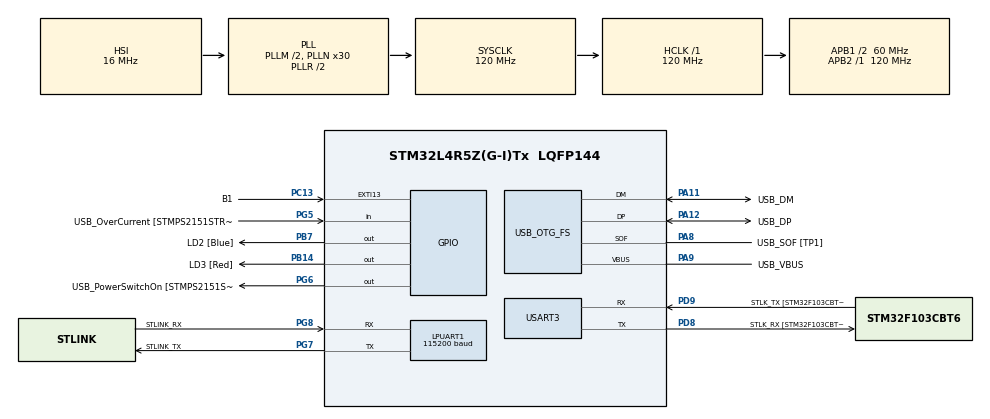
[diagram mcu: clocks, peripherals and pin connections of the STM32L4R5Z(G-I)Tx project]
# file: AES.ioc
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LPUART1.BaudRate=115200
LPUART1.WordLength=UART_WORDLENGTH_8B
Mcu.Family=STM32L4
Mcu.Name=STM32L4R5Z(G-I)Tx
Mcu.Package=LQFP144
NVIC.PriorityGroup=NVIC_PRIORITYGROUP_4
PA10.GPIO_Label=USB_ID
PA10.Signal=USB_OTG_FS_ID
PA11.GPIO_Label=USB_DM
PA11.Mode=Device_Only
PA11.Signal=USB_OTG_FS_DM
PA12.GPIO_Label=USB_DP
PA12.Mode=Device_Only
PA12.Signal=USB_OTG_FS_DP
PA13\ (JTMS/SWDIO).GPIO_Label=TMS
PA13\ (JTMS/SWDIO).Mode=Trace_Asynchronous_SW
PA13\ (JTMS/SWDIO).Signal=SYS_JTMS-SWDIO
PA14\ (JTCK/SWCLK).GPIO_Label=TCK
PA14\ (JTCK/SWCLK).Mode=Trace_Asynchronous_SW
PA14\ (JTCK/SWCLK).Signal=SYS_JTCK-SWCLK
PA8.GPIO_Label=USB_SOF [TP1]
PA8.Mode=Activate_SOF_FS
PA8.Signal=USB_OTG_FS_SOF
PA9.GPIO_Label=USB_VBUS
PA9.Mode=Activate_VBUS
PA9.Signal=USB_OTG_FS_VBUS
PB14.GPIO_Label=LD3 [Red]
PB14.Signal=GPIO_Output
PB3\ (JTDO/TRACESWO).GPIO_Label=SWO
PB3\ (JTDO/TRACESWO).Mode=Trace_Asynchronous_SW
PB3\ (JTDO/TRACESWO).Signal=SYS_JTDO-SWO
PB7.GPIO_Label=LD2 [Blue]
PB7.Signal=GPIO_Output
PC13.GPIO_Label=B1
PC13.Signal=GPXTI13
PC14-OSC32_IN\ (PC14).Mode=LSE-External-Oscillator
PC14-OSC32_IN\ (PC14).Signal=RCC_OSC32_IN
PC15-OSC32_OUT\ (PC15).Mode=LSE-External-Oscillator
PC15-OSC32_OUT\ (PC15).Signal=RCC_OSC32_OUT
PD8.GPIO_Label=STLK_RX [STM32F103CBT6_PA3]
PD8.Mode=Asynchronous
PD8.Signal=USART3_TX
PD9.GPIO_Label=STLK_TX [STM32F103CBT6_PA2]
PD9.Mode=Asynchronous
PD9.Signal=USART3_RX
PG5.GPIO_Label=USB_OverCurrent [STMPS2151STR_FAULT]
PG5.Signal=GPIO_Input
PG6.GPIO_Label=USB_PowerSwitchOn [STMPS2151STR_EN]
PG6.Signal=GPIO_Output
PG7.GPIO_Label=STLINK_TX
PG7.Mode=Asynchronous
PG7.Signal=LPUART1_TX
PG8.GPIO_Label=STLINK_RX
PG8.Mode=Asynchronous
PG8.Signal=LPUART1_RX
PH0-OSC_IN\ (PH0).Signal=RCC_OSC_IN
PH1-OSC_OUT\ (PH1).Signal=RCC_OSC_OUT
ProjectManager.HeapSize=0x200
ProjectManager.StackSize=0x400
ProjectManager.TargetToolchain=STM32CubeIDE
RCC.48MHZClocksFreq_Value=24000000
RCC.ADCFreq_Value=96000000
RCC.AHBFreq_Value=120000000
RCC.APB1CLKDivider=RCC_HCLK_DIV2
RCC.APB1Freq_Value=60000000
RCC.APB1TimFreq_Value=120000000
RCC.APB2Freq_Value=120000000
RCC.APB2TimFreq_Value=120000000
RCC.CK48CLockSelection=RCC_USBCLKSOURCE_HSI48
RCC.CortexFreq_Value=120000000
RCC.HCLKFreq_Value=120000000
RCC.HSE_VALUE=8000000
RCC.HSI48_VALUE=48000000
RCC.HSI_VALUE=16000000
RCC.MSI_VALUE=4000000
RCC.PLLM1=2
RCC.PLLMUL=RCC_PLL_MUL9
RCC.PLLN=30
RCC.PLLSAI1N=12
RCC.PLLSourceVirtual=RCC_PLLSOURCE_HSI
RCC.PRESCALERUSB=RCC_USBCLKSOURCE_PLL_DIV1_5
RCC.SYSCLKFreq_VALUE=120000000
RCC.SYSCLKSource=RCC_SYSCLKSOURCE_PLLCLK
RCC.SYSCLKSourceVirtual=RCC_SYSCLKSOURCE_PLLCLK
RCC.USBFreq_Value=48000000
RCC.VCOOutputFreq_Value=240000000
USART3.VirtualMode-Asynchronous=VM_ASYNC
USB_OTG_FS.VirtualMode=Device_Only
board=NUCLEO-L4R5ZI

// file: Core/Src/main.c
/* USER CODE BEGIN Header */
/**
  ******************************************************************************
  * @file           : main.c
  * @brief          : Main program body
  ******************************************************************************
  * @attention
  *
  * Copyright (c) 2023 STMicroelectronics.
  * All rights reserved.
  *
  * This software is licensed under terms that can be found in the LICENSE file
  * in the root directory of this software component.
  * If no LICENSE file comes with this software, it is provided AS-IS.
  *
  ******************************************************************************
  */
/* USER CODE END Header */
#include "main.h"

/* USER CODE BEGIN Includes */
#define TESTS
//#undef TESTS

#include <stdio.h>
#include "aes.h"
#ifdef TESTS
#include "aes_tests.h"
#endif

/* USER CODE END Includes */

UART_HandleTypeDef hlpuart1;
UART_HandleTypeDef huart3;

PCD_HandleTypeDef hpcd_USB_OTG_FS;

void SystemClock_Config(void);
static void MX_GPIO_Init(void);
static void MX_LPUART1_UART_Init(void);
static void MX_USART3_UART_Init(void);
static void MX_USB_OTG_FS_PCD_Init(void);
/* USER CODE BEGIN PFP */
#ifdef __GNUC__
#define PUTCHAR_PROTOTYPE int __io_putchar(int ch)
#else
#define PUTCHAR_PROTOTYPE int fputc(int ch, FILE *f)
#endif

PUTCHAR_PROTOTYPE
{
  HAL_UART_Transmit(&hlpuart1, (uint8_t *)&ch, 1, HAL_MAX_DELAY);
  return ch;
}

/* USER CODE END PFP */

int main(void)
{

  /* MCU Configuration--------------------------------------------------------*/

  /* Reset of all peripherals, Initializes the Flash interface and the Systick. */
  HAL_Init();

  /* Configure the system clock */
  SystemClock_Config();

  /* Initialize all configured peripherals */
  MX_GPIO_Init();
  MX_LPUART1_UART_Init();
  MX_USART3_UART_Init();
  MX_USB_OTG_FS_PCD_Init();
  /* USER CODE BEGIN 2 */

#undef TESTS
#ifdef TESTS
  uint8_t keyTest[16] = {0};
  TestEncryptConstantKey(keyTest);
  TestDecryptConstantKey();
  TestEncryptVariableKey();
  TestDecryptVariableKey();
  SpeedTest1MB();
#endif

  // Example of Single block
  uint8_t key[16] = {0x00, 0x7e, 0x15, 0x16, 0x28, 0xae, 0xd2, 0xa6, 0xab, 0xf7, 0x15, 0x88, 0x09, 0xcf, 0x4f, 0x3c };
  uint8_t keys[44][4] = {0};

  char plaintext[16] = "Cool Plain Text!";

  // Generae the keys needed
  GenerateKeys(key, keys);

  // Encrypt a single Block
  uint8_t* cipherText = Encrypt((uint8_t*)plaintext, keys);

  // Decrypt a single block
  uint8_t* plainOut = Decrypt(cipherText, keys);

  printf("Plain Text: ");
  PrintCharArray((char*)plaintext);

  printf("Cipher Text: ");
  PrintCharArray((char*)cipherText);

  printf("De-crypted Text: ");
  PrintCharArray((char*)plainOut);

  printf("\n\nEncrypting multiple blocks\r\n\n");

  // Encrypt multiple blocks using CBC mode of operation
  // MUST BE MULTIPLE OF 16
  uint8_t data[32] = "Hello World, This is my string!\0";

  printf("Data: %s\r\n", (char*)data);

  // IV for CBC mode
  uint8_t IV[16] = { 0x32, 0x43, 0xf6, 0xa8, 0x88, 0x5a, 0x30, 0x8d, 0x31, 0x31, 0x98, 0xa2, 0xe0, 0x37, 0x07, 0x34 };
  uint8_t cipherRes[32] = {0};

  // Encrypt
  EncryptCBC(data, sizeof(data), IV, keys, cipherRes);
  printf("Encrypted Data: \r\n");
  PrintText(cipherRes);
  PrintText(&(cipherRes[16]));

  // de-crypt
  uint8_t plainCBC[16] = {0};
  DecryptCBC(cipherRes, sizeof(cipherRes), IV, keys, plainCBC);
  printf("De-crypted Data: %s\r\n", plainCBC);

  /* USER CODE END 2 */

  /* Infinite loop */
  while (1)
  {

  }
}

void SystemClock_Config(void)
{
  RCC_OscInitTypeDef RCC_OscInitStruct = {0};
  RCC_ClkInitTypeDef RCC_ClkInitStruct = {0};

  /** Configure the main internal regulator output voltage
  */
  if (HAL_PWREx_ControlVoltageScaling(PWR_REGULATOR_VOLTAGE_SCALE1_BOOST) != HAL_OK)
  {
    Error_Handler();
  }

  /** Initializes the RCC Oscillators according to the specified parameters
  * in the RCC_OscInitTypeDef structure.
  */
  RCC_OscInitStruct.OscillatorType = RCC_OSCILLATORTYPE_HSI48|RCC_OSCILLATORTYPE_HSI;
  RCC_OscInitStruct.HSIState = RCC_HSI_ON;
  RCC_OscInitStruct.HSI48State = RCC_HSI48_ON;
  RCC_OscInitStruct.HSICalibrationValue = RCC_HSICALIBRATION_DEFAULT;
  RCC_OscInitStruct.PLL.PLLState = RCC_PLL_ON;
  RCC_OscInitStruct.PLL.PLLSource = RCC_PLLSOURCE_HSI;
  RCC_OscInitStruct.PLL.PLLM = 2;
  RCC_OscInitStruct.PLL.PLLN = 30;
  RCC_OscInitStruct.PLL.PLLP = RCC_PLLP_DIV2;
  RCC_OscInitStruct.PLL.PLLQ = RCC_PLLQ_DIV2;
  RCC_OscInitStruct.PLL.PLLR = RCC_PLLR_DIV2;
  if (HAL_RCC_OscConfig(&RCC_OscInitStruct) != HAL_OK)
  {
    Error_Handler();
  }

  /** Initializes the CPU, AHB and APB buses clocks
  */
  RCC_ClkInitStruct.ClockType = RCC_CLOCKTYPE_HCLK|RCC_CLOCKTYPE_SYSCLK
                              |RCC_CLOCKTYPE_PCLK1|RCC_CLOCKTYPE_PCLK2;
  RCC_ClkInitStruct.SYSCLKSource = RCC_SYSCLKSOURCE_PLLCLK;
  RCC_ClkInitStruct.AHBCLKDivider = RCC_SYSCLK_DIV1;
  RCC_ClkInitStruct.APB1CLKDivider = RCC_HCLK_DIV2;
  RCC_ClkInitStruct.APB2CLKDivider = RCC_HCLK_DIV1;

  if (HAL_RCC_ClockConfig(&RCC_ClkInitStruct, FLASH_LATENCY_5) != HAL_OK)
  {
    Error_Handler();
  }
}

static void MX_LPUART1_UART_Init(void)
{

  hlpuart1.Instance = LPUART1;
  hlpuart1.Init.BaudRate = 115200;
  hlpuart1.Init.WordLength = UART_WORDLENGTH_8B;
  hlpuart1.Init.StopBits = UART_STOPBITS_1;
  hlpuart1.Init.Parity = UART_PARITY_NONE;
  hlpuart1.Init.Mode = UART_MODE_TX_RX;
  hlpuart1.Init.HwFlowCtl = UART_HWCONTROL_NONE;
  hlpuart1.Init.OneBitSampling = UART_ONE_BIT_SAMPLE_DISABLE;
  hlpuart1.Init.ClockPrescaler = UART_PRESCALER_DIV1;
  hlpuart1.AdvancedInit.AdvFeatureInit = UART_ADVFEATURE_NO_INIT;
  hlpuart1.FifoMode = UART_FIFOMODE_DISABLE;
  if (HAL_UART_Init(&hlpuart1) != HAL_OK)
  {
    Error_Handler();
  }
  if (HAL_UARTEx_SetTxFifoThreshold(&hlpuart1, UART_TXFIFO_THRESHOLD_1_8) != HAL_OK)
  {
    Error_Handler();
  }
  if (HAL_UARTEx_SetRxFifoThreshold(&hlpuart1, UART_RXFIFO_THRESHOLD_1_8) != HAL_OK)
  {
    Error_Handler();
  }
  if (HAL_UARTEx_DisableFifoMode(&hlpuart1) != HAL_OK)
  {
    Error_Handler();
  }

}

static void MX_USART3_UART_Init(void)
{

  huart3.Instance = USART3;
  huart3.Init.BaudRate = 115200;
  huart3.Init.WordLength = UART_WORDLENGTH_8B;
  huart3.Init.StopBits = UART_STOPBITS_1;
  huart3.Init.Parity = UART_PARITY_NONE;
  huart3.Init.Mode = UART_MODE_TX_RX;
  huart3.Init.HwFlowCtl = UART_HWCONTROL_NONE;
  huart3.Init.OverSampling = UART_OVERSAMPLING_16;
  huart3.Init.OneBitSampling = UART_ONE_BIT_SAMPLE_DISABLE;
  huart3.Init.ClockPrescaler = UART_PRESCALER_DIV1;
  huart3.AdvancedInit.AdvFeatureInit = UART_ADVFEATURE_NO_INIT;
  if (HAL_UART_Init(&huart3) != HAL_OK)
  {
    Error_Handler();
  }
  if (HAL_UARTEx_SetTxFifoThreshold(&huart3, UART_TXFIFO_THRESHOLD_1_8) != HAL_OK)
  {
    Error_Handler();
  }
  if (HAL_UARTEx_SetRxFifoThreshold(&huart3, UART_RXFIFO_THRESHOLD_1_8) != HAL_OK)
  {
    Error_Handler();
  }
  if (HAL_UARTEx_DisableFifoMode(&huart3) != HAL_OK)
  {
    Error_Handler();
  }

}

static void MX_USB_OTG_FS_PCD_Init(void)
{

  hpcd_USB_OTG_FS.Instance = USB_OTG_FS;
  hpcd_USB_OTG_FS.Init.dev_endpoints = 6;
  hpcd_USB_OTG_FS.Init.phy_itface = PCD_PHY_EMBEDDED;
  hpcd_USB_OTG_FS.Init.Sof_enable = ENABLE;
  hpcd_USB_OTG_FS.Init.low_power_enable = DISABLE;
  hpcd_USB_OTG_FS.Init.lpm_enable = DISABLE;
  hpcd_USB_OTG_FS.Init.battery_charging_enable = ENABLE;
  hpcd_USB_OTG_FS.Init.use_dedicated_ep1 = DISABLE;
  hpcd_USB_OTG_FS.Init.vbus_sensing_enable = ENABLE;
  if (HAL_PCD_Init(&hpcd_USB_OTG_FS) != HAL_OK)
  {
    Error_Handler();
  }

}

static void MX_GPIO_Init(void)
{
  GPIO_InitTypeDef GPIO_InitStruct = {0};

  /* GPIO Ports Clock Enable */
  __HAL_RCC_GPIOC_CLK_ENABLE();
  __HAL_RCC_GPIOH_CLK_ENABLE();
  __HAL_RCC_GPIOB_CLK_ENABLE();
  __HAL_RCC_GPIOD_CLK_ENABLE();
  __HAL_RCC_GPIOG_CLK_ENABLE();
  HAL_PWREx_EnableVddIO2();
  __HAL_RCC_GPIOA_CLK_ENABLE();

  /*Configure GPIO pin Output Level */
  HAL_GPIO_WritePin(GPIOB, LD3_Pin|LD2_Pin, GPIO_PIN_RESET);

  /*Configure GPIO pin Output Level */
  HAL_GPIO_WritePin(USB_PowerSwitchOn_GPIO_Port, USB_PowerSwitchOn_Pin, GPIO_PIN_RESET);

  /*Configure GPIO pin : B1_Pin */
  GPIO_InitStruct.Pin = B1_Pin;
  GPIO_InitStruct.Mode = GPIO_MODE_IT_RISING;
  GPIO_InitStruct.Pull = GPIO_NOPULL;
  HAL_GPIO_Init(B1_GPIO_Port, &GPIO_InitStruct);

  /*Configure GPIO pins : LD3_Pin LD2_Pin */
  GPIO_InitStruct.Pin = LD3_Pin|LD2_Pin;
  GPIO_InitStruct.Mode = GPIO_MODE_OUTPUT_PP;
  GPIO_InitStruct.Pull = GPIO_NOPULL;
  GPIO_InitStruct.Speed = GPIO_SPEED_FREQ_LOW;
  HAL_GPIO_Init(GPIOB, &GPIO_InitStruct);

  /*Configure GPIO pin : USB_OverCurrent_Pin */
  GPIO_InitStruct.Pin = USB_OverCurrent_Pin;
  GPIO_InitStruct.Mode = GPIO_MODE_INPUT;
  GPIO_InitStruct.Pull = GPIO_NOPULL;
  HAL_GPIO_Init(USB_OverCurrent_GPIO_Port, &GPIO_InitStruct);

  /*Configure GPIO pin : USB_PowerSwitchOn_Pin */
  GPIO_InitStruct.Pin = USB_PowerSwitchOn_Pin;
  GPIO_InitStruct.Mode = GPIO_MODE_OUTPUT_PP;
  GPIO_InitStruct.Pull = GPIO_NOPULL;
  GPIO_InitStruct.Speed = GPIO_SPEED_FREQ_LOW;
  HAL_GPIO_Init(USB_PowerSwitchOn_GPIO_Port, &GPIO_InitStruct);

}

void Error_Handler(void)
{
  __disable_irq();
  while (1)
  {
  }
}
